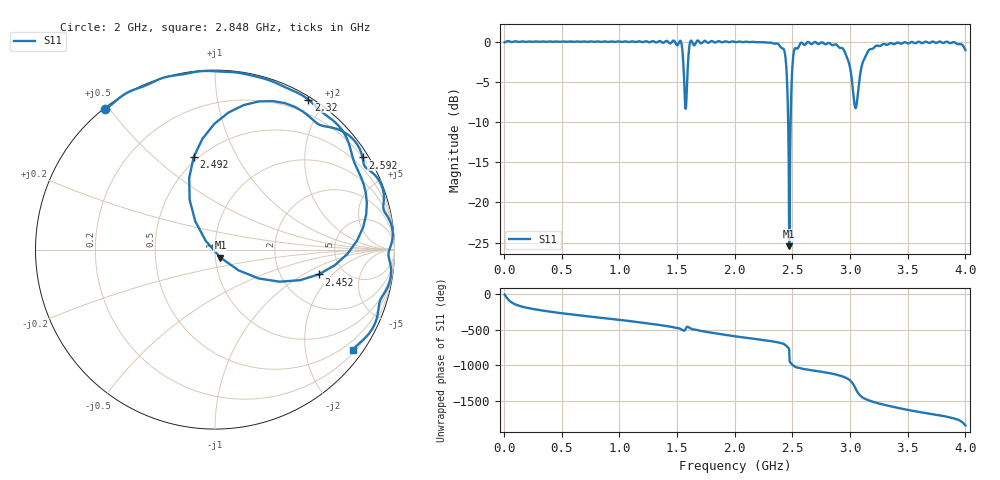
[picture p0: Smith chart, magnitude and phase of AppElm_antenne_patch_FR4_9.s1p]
! TOUCHSTONE file generated by CST MICROWAVE STUDIO
! Date and time: Tue Jun 14 13:15:17 2022
! Project name: AppElm_antenne_patch_FR4.cst
! Parameters = {L=45; W=58.5; e=0.035; h=1.6; lambda=0.190476; ls=120; w0=2.54; w1=0.847; ws=120; y0=20.7; y1=23.8}
! Header version: 2018
! Port assignment regex: !\s*Touchstone port\s*([0-9]+)\s*=\s*(CST MWS port|CST DS port)\s*([0-9]+|Zmin|Zmax)\s*\(\"(.*)\"\)(\s*mode\s*([0-9]+))?.*
! Touchstone port assignment:
! Touchstone port 1 = CST MWS port 1 ("")
# GHz S MA R 50
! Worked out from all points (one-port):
!   1000 points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, 4 MHz to 4 GHz, reference 50 ohm
!   lowest |S11| = -25.4 dB at 2.472 GHz (marker M1), VSWR 1.11, Z = 52.9 - j4.69 ohm
!   |S11| at or under -10 dB: 2.463 GHz to 2.484 GHz (21.18 MHz wide, 0.856 % of centre)
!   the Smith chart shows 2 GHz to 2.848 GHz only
!   S11 on the Smith chart (normalised r, x): 2 GHz: 0.00, +0.49; 2.32 GHz: 0.03, +1.80; 2.452 GHz: 3.28, -1.40; 2.492 GHz: 0.48, +0.68; 2.592 GHz: 0.21, +3.48; 2.848 GHz: 0.27, -3.07
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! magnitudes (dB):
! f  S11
! 4 MHz  -0.1
! 504 MHz  0.0
! 1.004 GHz  0.0
! 1.504 GHz  -0.4
! 1.536 GHz  -0.1
! 1.564 GHz  -5.9
! 1.576 GHz  -8.3
! 1.624 GHz  0.1
! 2 GHz  0.0
! 2.004 GHz  -0.1
! 2.32 GHz  -0.1
! 2.424 GHz  -0.9
! 2.44 GHz  -2.0
! 2.452 GHz  -4.5
! 2.46 GHz  -7.9
! 2.472 GHz  -25.4
! 2.492 GHz  -5.5
! 2.504 GHz  -2.3
! 2.524 GHz  -0.8
! 2.592 GHz  -0.3
! 2.848 GHz  -0.4
! 2.944 GHz  -1.0
! 3.004 GHz  -3.6
! 3.048 GHz  -8.3
! 3.108 GHz  -2.7
! 3.164 GHz  -1.0
! 3.504 GHz  -0.2
! 4 GHz  -1.0
